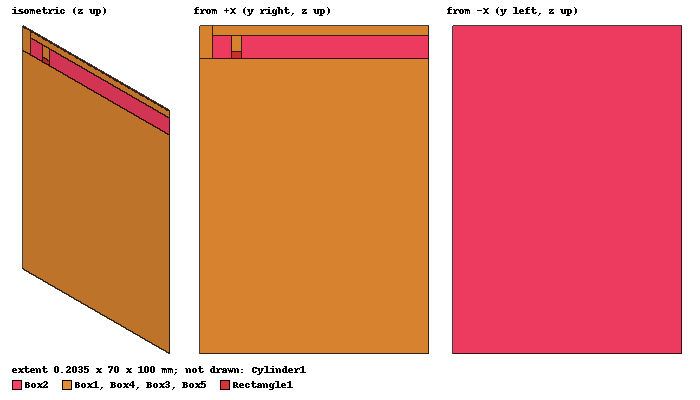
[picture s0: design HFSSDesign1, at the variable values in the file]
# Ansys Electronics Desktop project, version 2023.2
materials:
  vacuum: permittivity=1
  copper: permeability=0.999991 conductivity=58000000
  FR4_epoxy: permittivity=4.4 dielectric_loss_tangent=0.02
  Rogers RO3003 (tm): permittivity=3 dielectric_loss_tangent=0.0013
  Rogers TMM 10 (tm): permittivity=9.2 dielectric_loss_tangent=0.0022
  Rogers TMM 4 (tm): permittivity=4.5 dielectric_loss_tangent=0.002

design HFSSDesign1 (HFSS, HFSS Terminal Network, model units mm)
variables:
  IU = 25
  m = 20
  val2 = 9.7mm
  xval = 0.0035mm
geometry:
  Box1 [copper] = box(corner=(0mm, 0mm, 0mm), size=(xval, 70mm, 90mm))
  Box2 [Rogers TMM 4 (tm)] = box(corner=(0mm, 0mm, 0mm), size=(-0.2mm, 70mm, 100mm))
  Box3 [copper] = box(corner=(0mm, 0mm, 90mm), size=(xval, 4mm, 10mm))
  Box4 [copper] = box(corner=(0mm, 4mm, 97mm), size=(xval, 66mm, 3mm))
  Box5 [copper] = box(corner=(0mm, val2, 92mm), size=(xval, 3.05mm, 5mm))
  Rectangle1 = rectangle(corner=(0mm, val2, 90mm), y_size=3.05mm, z_size=2mm)
  Cylinder1 [vacuum] = cylinder(axis=Z, base_centre=(0mm, 35mm, -81.5mm), radius=115mm, height=272mm)
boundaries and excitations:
  Rad1: Radiation Objects=Cylinder1
  Port1: Lumped Port Faces=Rectangle1.face LumpedPortType=Modal Modes{Mode1{IntLine{(0, 11.2349125, 90) -> (0, 11.225, 92)} CharImp=Zpi}} Impedance=50ohm
  reference conductors: Box1, Box5
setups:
  Setup5: HfssDriven Frequency=0.92GHz MaxDeltaS=0.02 MaximumPasses=6 MinimumPasses=1 MinimumConvergedPasses=1 PercentRefinement=30 BasisOrder=1 PortAccuracy=2 DrivenSolverType="Direct Solver"
    sweep Sweep: 0.6GHz to 1.5GHz, 401 points; Type=Fast SaveFields
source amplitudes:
  Port1:1: 1V 0deg
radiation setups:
  Infinite Sphere1: Infinite Sphere Theta=-180deg..180deg step 2deg Phi=0deg..180deg step 2deg
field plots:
  Mag_Jsurf5: Jsurf over Box1.face(all 6) Box3.face(all 6) Box4.face(all 6) Box5.face(all 6) Rectangle1.face on Setup5 : Sweep at Freq=0.6GHz Phase=0deg
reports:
  S Parameter Plot 1: dB(S(Port1,Port1)) vs Freq on Setup5 : Sweep [val2=all]; markers MX1 at x=8.8244085e+08
  Directivity Plot 2: dB(DirPhi), dB(DirTheta) vs Theta on Setup5 : Sweep, Infinite Sphere1 [Phi=all Freq=0.9195GHz val2=all]
  Directivity Plot 3: dB(DirPhi), dB(DirTheta) vs Theta, Phi on Setup5 : LastAdaptive, Infinite Sphere1 [Freq=0.92GHz val2=9.7mm]
  Directivity Plot 4: dB(DirPhi), dB(DirTheta) vs Phi, Theta on Setup5 : LastAdaptive, Infinite Sphere1 [Freq=0.92GHz]
